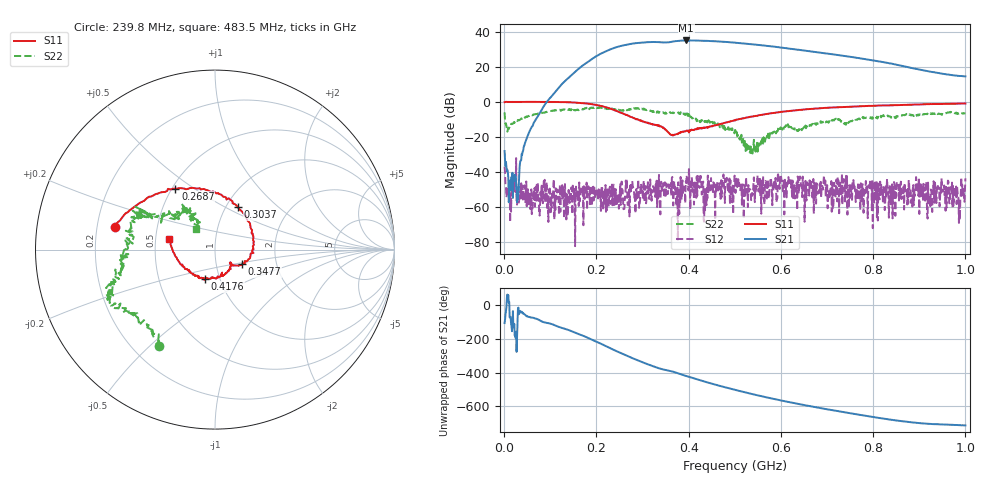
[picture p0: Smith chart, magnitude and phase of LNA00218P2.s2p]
! Created with skrf 1.9.0 (http://scikit-rf.org).
# Hz S RI R 50.0
!freq ReS11 ImS11 ReS21 ImS21 ReS12 ImS12 ReS22 ImS22
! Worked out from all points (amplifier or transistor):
!   1001 points, 1 MHz to 1 GHz, reference 50 ohm
!   highest |S21| = 35.0 dB at 394.6 MHz (marker M1)
!   |S21| within 3 dB of that: 255.4 MHz to 566.3 MHz (310.9 MHz wide, 75.7 % of centre) (the widest 1 of 2)
!   unconditionally stable (mu >= 1): start of sweep to 87.73 MHz; 263.8 MHz to 400.4 MHz; 401 MHz to end of sweep (the widest 3 of 23)
!   at 166.8 MHz: K = 0.86, MSG = 35.1 dB, |S12| = -50.3 dB
!   at 500.5 MHz: K = 1.47, MAG = 34.2 dB, |S12| = -42.7 dB
!   at 1 GHz: K = 2.63, MAG = 22.0 dB, |S12| = -43.6 dB
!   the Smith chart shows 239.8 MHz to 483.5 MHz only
!   S11 on the Smith chart (normalised r, x): 239.8 MHz: 0.28, +0.10; 268.7 MHz: 0.52, +0.42; 303.7 MHz: 1.13, +0.58; 347.7 MHz: 1.33, -0.22; 417.6 MHz: 0.85, -0.29; 483.5 MHz: 0.59, +0.08
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1000000  0.98 0.011  -0.0108 -0.0382  -0.0108 0.00915  0.384 0.3236
1.08892e8  0.507 -0.8515  -0.8387 -1.575  0.000402 -0.000191  0.4204 -0.3672
1.67833e8  -0.2577 -0.8862  -10.23 -0.4305  -0.00286 -0.00216  0.0379 -0.6198
2.08792e8  -0.6742 -0.372  -15.73 17.13  0.00139 -0.00151  -0.1972 -0.6449
2.39761e8  -0.557 0.1257  -1.401 34.8  0.00196 -0.000976  -0.3139 -0.5369
2.68732e8  -0.2205 0.3392  23.75 36.07  -0.00108 -0.000483  -0.4863 -0.3454
3.03697e8  0.1278 0.2375  47.04 14.58  -0.00217 0.000796  -0.5647 -0.1866
3.34666e8  0.2059 -0.00916  48.97 -11.59  0.00197 0.000208  -0.5226 -0.0393
3.47653e8  0.1506 -0.0815  45.19 -19.64  -0.00157 0.00106  -0.4813 0.0532
3.71629e8  0.0894 -0.0765  41.54 -33.87  -0.000587 0.0019  -0.4491 0.1719
3.94606e8  0.0532 -0.1394  27.82 -48.67  -0.00131 0.00465  -0.4169 0.1938
4.17583e8  -0.0542 -0.163  9.616 -54.64  0.00476 0.00576  -0.2239 0.1685
4.46554e8  -0.1677 -0.1059  -11.99 -52.82  0.00186 0.00234  -0.1618 0.2113
4.83517e8  -0.2537 0.0609  -33.01 -38.48  0.00397 -0.00358  -0.1053 0.115
5.005e8  -0.2536 0.1485  -38.65 -29.78  -0.00436 -0.00587  -0.104 0.1186
5.4046e8  -0.1736 0.3438  -42.42 -8.078  0.00328 -0.00341  -0.0305 0.0516
5.88412e8  0.0323 0.4909  -34.82 11.87  -0.000362 -0.00677  -0.1296 -0.077
6.26374e8  0.2047 0.525  -24.42 20.46  0.000612 -0.0017  -0.1341 -0.1056
6.67333e8  0.4035 0.4879  -12.81 23.66  0.000102 -0.00238  -0.2273 -0.0315
7.53247e8  0.6746 0.2743  4.204 18.41  2.93e-05 -0.00212  -0.2768 0.0372
8.34166e8  0.7913 0.019  9.407 8.455  0.000471 -0.000164  -0.3834 0.0636
1e9  0.7289 -0.5204  5.292 0.5849  -0.00329 -0.00571  -0.2252 0.4043
